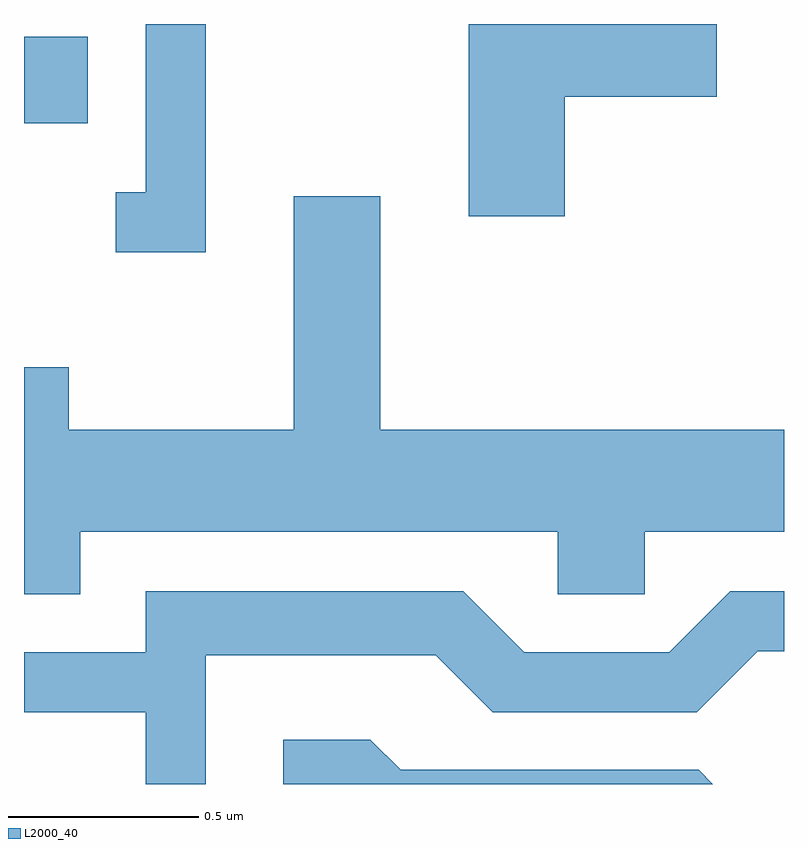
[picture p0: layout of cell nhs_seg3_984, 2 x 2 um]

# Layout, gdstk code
import gdstk
lib = gdstk.Library(unit=1e-6, precision=1e-09)
def R(c, l, rs):  # rectangles x0, y0, x1, y1
    for r in rs: c.add(gdstk.rectangle(r[:2], r[2:], *l))
def P(c, l, *ps):  # polygons
    for p in ps: c.add(gdstk.Polygon(p, *l))
L2000_40 = (2000, 40)

nhs_seg3_984 = lib.new_cell('nhs_seg3_984')
R(nhs_seg3_984, L2000_40, [(192.611,1142.631,192.779,1142.859)])
P(nhs_seg3_984, L2000_40, [(194.034,1142.701),(194.434,1142.701),(194.434,1142.892),(193.781,1142.892),(193.781,1142.386),(194.034,1142.386)],
  [(193.089,1142.892),(192.931,1142.892),(192.931,1142.449),(192.853,1142.449),(192.853,1142.291),(193.089,1142.291)],
  [(192.759,1141.556),(194.016,1141.556),(194.016,1141.391),(194.244,1141.391),(194.244,1141.556),(194.611,1141.556),(194.611,1141.824),(193.549,1141.824),(193.549,1142.439),(193.321,1142.439),(193.321,1141.824),(192.729,1141.824),(192.729,1141.989),(192.611,1141.989),(192.611,1141.391),(192.759,1141.391)],
  [(193.089,1141.231),(193.694,1141.231),(193.844,1141.081),(194.382,1141.081),(194.542,1141.241),(194.611,1141.241),(194.611,1141.399),(194.469,1141.399),(194.309,1141.239),(193.927,1141.239),(193.767,1141.399),(192.931,1141.399),(192.931,1141.239),(192.611,1141.239),(192.611,1141.081),(192.931,1141.081),(192.931,1140.892),(193.089,1140.892)],
  [(194.387,1140.929),(193.602,1140.929),(193.522,1141.009),(193.293,1141.009),(193.293,1140.892),(194.424,1140.892)])

lib.write_gds('nhs_seg3_984.gds')
